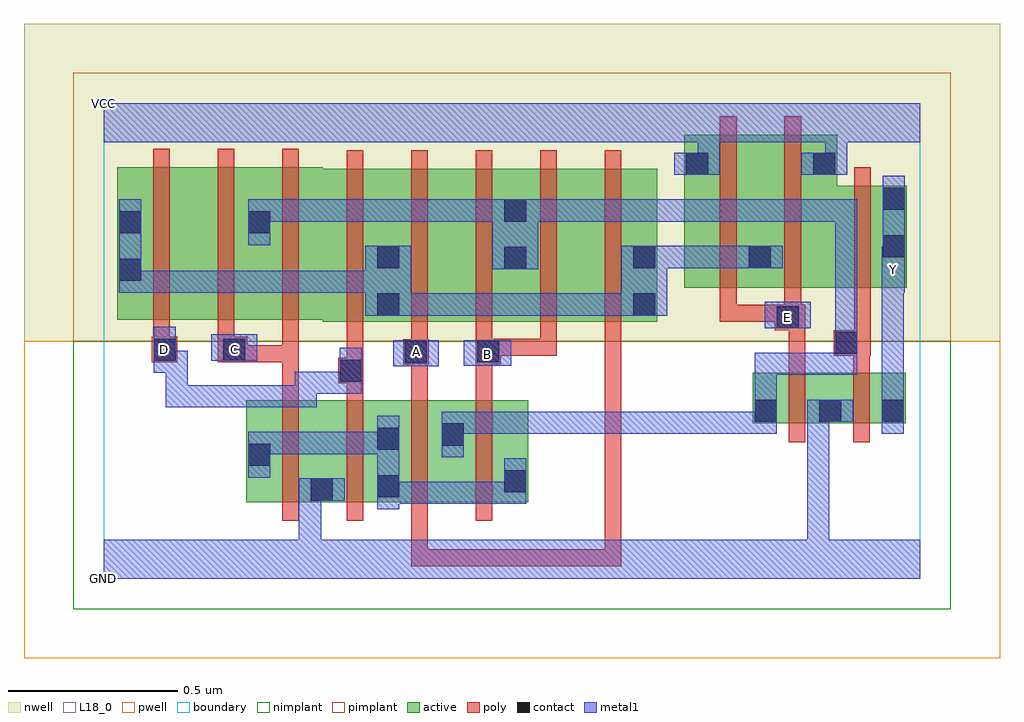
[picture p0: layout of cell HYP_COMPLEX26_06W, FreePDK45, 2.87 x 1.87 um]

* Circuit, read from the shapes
.subckt HYP_COMPLEX26_06W A B C D E GND VCC Y
M1 GND C n1 VSUBS nfet w=0.3u l=0.05u
M2 n1 D GND VSUBS nfet w=0.3u l=0.05u
M3 n2 A n1 VSUBS nfet w=0.3u l=0.05u
M4 n1 B n2 VSUBS nfet w=0.3u l=0.05u
M5 GND E n2 VSUBS nfet w=0.15u l=0.05u
M6 Y n2 GND VSUBS nfet w=0.15u l=0.05u
M7 n3 D n4 n5 pfet w=0.45u l=0.05u
M8 n2 C n3 n5 pfet w=0.45u l=0.05u
M9 n6 C n2 n5 pfet w=0.45u l=0.05u
M10 n4 D n6 n5 pfet w=0.45u l=0.05u
M11 n7 A n4 n5 pfet w=0.45u l=0.05u
M12 n2 B n7 n5 pfet w=0.45u l=0.05u
M13 n8 B n2 n5 pfet w=0.45u l=0.05u
M14 n4 A n8 n5 pfet w=0.45u l=0.05u
M15 n4 E VCC n5 pfet w=0.45u l=0.05u m=2
M16 Y n2 VCC n5 pfet w=0.3u l=0.05u
.ends

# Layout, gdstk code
import gdstk
lib = gdstk.Library(unit=1e-6, precision=1e-09)
def R(c, l, rs):  # rectangles x0, y0, x1, y1
    for r in rs: c.add(gdstk.rectangle(r[:2], r[2:], *l))
def A(c, l, x, y, w, h, nx, ny, dx, dy):  # array of equal rectangles
    R(c, l, [(x+i*dx, y+j*dy, x+i*dx+w, y+j*dy+h) for i in range(nx) for j in range(ny)])
active = (1, 0)
pwell = (2, 0)
nwell = (3, 0)
nimplant = (4, 0)
pimplant = (5, 0)
poly = (9, 0)
contact = (10, 0)
metal1 = (11, 0)
L18_0 = (18, 0)
boundary = (235, 0)

hyp_complex26_06w = lib.new_cell('HYP_COMPLEX26_06W')
R(hyp_complex26_06w, active, [(0.42,0.225,0.68,0.525), (0.605,0.225,0.875,0.525), (0.605,0.225,0.68,0.392), (0.8,0.225,1.065,0.525), (0.8,0.225,0.875,0.45), (0.99,0.225,1.25,0.525), (1.175,0.225,1.25,0.525), (0.42,0.327,0.495,0.525), (0.99,0.33,1.065,0.462), (1.912,0.457,1.987,0.607), (1.912,0.457,2.177,0.607), (2.102,0.457,2.362,0.607), (2.102,0.457,2.177,0.547), (2.287,0.457,2.362,0.607), (0.645,0.757,0.875,1.207), (0.8,0.757,1.025,1.207), (0.8,0.757,0.875,1.07), (1.025,0.757,1.25,1.207), (1.175,0.757,1.405,1.207), (1.405,0.757,1.63,1.207), (1.555,0.757,1.63,1.047), (0.04,0.762,0.265,1.212), (0.04,0.762,0.145,1.2), (0.265,0.762,0.495,1.212), (0.42,0.762,0.645,1.212), (0.42,0.762,0.495,1.2), (1.175,0.827,1.25,1.2), (1.71,0.857,1.97,1.307), (1.71,0.857,1.785,1.307), (1.895,0.857,2.16,1.307), (1.895,0.857,1.97,1.07), (2.085,0.857,2.365,1.157), (2.29,0.857,2.365,1.157), (2.085,0.952,2.16,1.307)])
R(hyp_complex26_06w, pwell, [(-0.235,-0.235,2.64,0.7)])
R(hyp_complex26_06w, nwell, [(-0.235,0.7,2.64,1.635)])
R(hyp_complex26_06w, nimplant, [(-0.09,-0.09,2.495,0.7)])
R(hyp_complex26_06w, pimplant, [(-0.09,0.7,2.495,1.49)])
A(hyp_complex26_06w, poly, 0.525, 0.17, 0.05, 0.41, 4, 1, 0.19, 0)
A(hyp_complex26_06w, poly, 0.715, 0.702, 0.05, 0.56, 5, 1, 0.19, 0)
A(hyp_complex26_06w, poly, 0.145, 0.707, 0.05, 0.56, 3, 1, 0.19, 0)
R(hyp_complex26_06w, poly, [(0.905,0.037,0.955,0.087), (0.905,0.037,1.17,0.087), (0.905,0.037,0.955,0.22), (1.12,0.037,1.17,0.087), (1.12,0.037,1.17,0.087), (1.12,0.037,1.17,0.087), (1.12,0.037,1.302,0.087), (1.252,0.037,1.302,0.087), (1.252,0.037,1.302,0.087), (1.252,0.037,1.302,0.087), (1.252,0.037,1.525,0.087), (1.475,0.037,1.525,0.087), (1.475,0.037,1.525,0.087), (1.475,0.037,1.525,0.087), (1.475,0.037,1.525,0.087), (1.475,0.037,1.525,0.087), (1.475,0.037,1.525,0.087), (1.475,0.037,1.525,0.087), (1.475,0.037,1.525,0.087), (1.475,0.037,1.525,0.087), (1.475,0.037,1.525,0.087), (1.475,0.037,1.525,0.087), (1.475,0.037,1.525,0.752), (2.017,0.402,2.067,0.662), (2.207,0.402,2.257,0.662), (0.525,0.53,0.575,0.687), (0.715,0.53,0.765,0.625), (0.905,0.53,0.955,0.68), (1.095,0.53,1.145,0.682), (0.69,0.575,0.765,0.65), (0.715,0.6,0.765,0.752), (2.017,0.612,2.067,0.782), (2.207,0.612,2.257,0.707), (0.882,0.63,0.957,0.705), (1.095,0.632,1.17,0.707), (0.142,0.637,0.217,0.712), (0.335,0.637,0.422,0.712), (0.372,0.637,0.422,0.687), (0.372,0.637,0.422,0.687), (0.372,0.637,0.575,0.687), (0.525,0.637,0.575,0.687), (0.525,0.637,0.575,0.757), (0.905,0.655,0.955,0.752), (1.095,0.657,1.145,0.752), (1.12,0.657,1.335,0.707), (1.285,0.657,1.335,0.752), (1.285,0.657,1.335,0.707), (1.285,0.657,1.335,0.707), (1.285,0.657,1.335,0.707), (2.15,0.657,2.26,0.732), (0.145,0.662,0.195,0.757), (0.335,0.662,0.385,0.757), (2.21,0.682,2.26,0.852), (1.977,0.732,2.067,0.807), (1.815,0.757,1.865,0.852), (1.815,0.757,1.865,0.807), (1.815,0.757,2.027,0.807), (1.977,0.757,2.027,0.807), (1.977,0.757,2.027,0.807), (2.005,0.757,2.055,0.852), (1.815,0.802,1.865,1.362), (2.005,0.802,2.055,1.362), (2.21,0.802,2.26,1.212)])
R(hyp_complex26_06w, contact, [(0.61,0.23,0.675,0.295), (0.805,0.24,0.87,0.305), (1.18,0.255,1.245,0.32), (0.425,0.332,0.49,0.397), (0.805,0.38,0.87,0.445), (0.995,0.392,1.06,0.457), (1.917,0.462,1.982,0.527), (2.107,0.462,2.172,0.527), (2.292,0.462,2.357,0.527), (0.695,0.58,0.76,0.645), (0.887,0.635,0.952,0.7), (1.1,0.637,1.165,0.702), (0.147,0.642,0.212,0.707), (0.352,0.642,0.417,0.707), (2.155,0.662,2.22,0.727), (1.982,0.737,2.047,0.802), (0.805,0.775,0.87,0.84), (1.56,0.775,1.625,0.84), (0.045,0.877,0.11,0.942), (1.18,0.912,1.245,0.977), (0.805,0.915,0.87,0.98), (1.56,0.915,1.625,0.98), (1.9,0.915,1.965,0.98), (2.295,0.947,2.36,1.012), (0.045,1.017,0.11,1.082), (0.425,1.017,0.49,1.082), (1.18,1.052,1.245,1.117), (2.295,1.087,2.36,1.152), (1.715,1.19,1.78,1.255), (2.09,1.19,2.155,1.255)])
R(hyp_complex26_06w, metal1, [(0,0,2.405,0.115), (0.575,0.05,0.64,0.295), (2.072,0.05,2.137,0.115), (2.072,0.05,2.137,0.115), (2.072,0.05,2.137,0.115), (2.072,0.05,2.137,0.115), (2.072,0.05,2.137,0.115), (2.072,0.05,2.137,0.115), (2.072,0.05,2.137,0.527), (0.805,0.205,0.87,0.48), (0.805,0.22,0.905,0.285), (0.84,0.22,0.905,0.285), (0.84,0.22,1.042,0.285), (0.977,0.22,1.042,0.285), (0.977,0.22,1.042,0.285), (0.977,0.22,1.042,0.285), (0.977,0.22,1.245,0.285), (1.18,0.22,1.245,0.355), (0.575,0.23,0.64,0.295), (0.575,0.23,0.64,0.295), (0.575,0.23,0.64,0.295), (0.575,0.23,0.64,0.295), (0.575,0.23,0.71,0.295), (0.425,0.297,0.49,0.432), (0.995,0.357,1.06,0.492), (0.425,0.367,0.49,0.432), (0.425,0.367,0.49,0.432), (0.425,0.367,0.627,0.432), (0.562,0.367,0.627,0.432), (0.562,0.367,0.627,0.432), (0.562,0.367,0.627,0.432), (0.562,0.367,0.87,0.432), (0.995,0.427,1.06,0.492), (0.995,0.427,1.06,0.492), (0.995,0.427,1.315,0.492), (1.25,0.427,1.315,0.492), (1.25,0.427,1.315,0.492), (1.25,0.427,1.315,0.492), (1.25,0.427,1.452,0.492), (1.387,0.427,1.452,0.492), (1.387,0.427,1.452,0.492), (1.387,0.427,1.452,0.492), (1.387,0.427,1.707,0.492), (1.642,0.427,1.707,0.492), (1.642,0.427,1.707,0.492), (1.642,0.427,1.707,0.492), (1.642,0.427,1.845,0.492), (1.78,0.427,1.845,0.492), (1.78,0.427,1.982,0.492), (1.917,0.427,1.982,0.562), (2.292,0.427,2.357,0.562), (2.072,0.462,2.207,0.527), (1.917,0.497,1.982,0.562), (1.917,0.497,1.982,0.665), (2.292,0.497,2.357,0.907), (0.182,0.505,0.247,0.57), (0.182,0.505,0.352,0.57), (0.182,0.505,0.247,0.672), (0.287,0.505,0.352,0.57), (0.287,0.505,0.49,0.57), (0.425,0.505,0.49,0.57), (0.425,0.505,0.49,0.57), (0.425,0.505,0.49,0.57), (0.425,0.505,0.627,0.57), (0.562,0.505,0.627,0.57), (0.562,0.505,0.627,0.61), (0.562,0.545,0.627,0.61), (0.562,0.545,0.76,0.61), (0.695,0.545,0.76,0.68), (1.917,0.6,2.22,0.665), (2.155,0.6,2.22,0.665), (2.155,0.6,2.22,0.692), (0.147,0.607,0.212,0.742), (0.147,0.607,0.247,0.672), (0.182,0.607,0.247,0.672), (0.852,0.625,0.987,0.702), (1.06,0.627,1.2,0.702), (2.155,0.627,2.22,0.692), (2.155,0.627,2.22,0.692), (2.155,0.627,2.22,0.692), (2.155,0.627,2.22,0.692), (2.155,0.627,2.22,0.762), (2.155,0.627,2.22,1.117), (0.317,0.642,0.452,0.72), (1.947,0.737,2.082,0.815), (0.77,0.775,0.905,0.98), (0.84,0.775,0.905,0.84), (0.84,0.775,0.905,0.84), (0.84,0.775,1.072,0.84), (1.007,0.775,1.072,0.84), (1.007,0.775,1.142,0.84), (1.077,0.775,1.142,0.84), (1.077,0.775,1.315,0.84), (1.25,0.775,1.315,0.84), (1.25,0.775,1.315,0.84), (1.25,0.775,1.315,0.84), (1.25,0.775,1.452,0.84), (1.387,0.775,1.452,0.84), (1.387,0.775,1.452,0.84), (1.387,0.775,1.452,0.84), (1.387,0.775,1.59,0.84), (1.525,0.775,1.66,0.98), (0.045,0.842,0.11,0.907), (0.045,0.842,0.11,0.907), (0.045,0.842,0.11,1.117), (0.045,0.842,0.352,0.907), (0.287,0.842,0.352,0.907), (0.287,0.842,0.352,0.907), (0.287,0.842,0.352,0.907), (0.287,0.842,0.49,0.907), (0.425,0.842,0.49,0.907), (0.425,0.842,0.49,0.907), (0.425,0.842,0.49,0.907), (0.425,0.842,0.627,0.907), (0.562,0.842,0.627,0.907), (0.562,0.842,0.627,0.907), (0.562,0.842,0.627,0.907), (0.562,0.842,0.835,0.907), (2.292,0.842,2.36,0.977), (1.145,0.912,1.28,1.117), (2.295,0.912,2.36,0.977), (2.295,0.912,2.36,1.187), (1.595,0.915,1.66,0.98), (1.595,0.915,1.66,0.98), (1.595,0.915,1.845,0.98), (1.78,0.915,1.845,0.98), (1.78,0.915,1.93,0.98), (1.865,0.915,2,0.98), (0.425,0.982,0.49,1.117), (0.425,1.052,0.49,1.117), (0.425,1.052,0.49,1.117), (0.425,1.052,0.627,1.117), (0.562,1.052,0.627,1.117), (0.562,1.052,0.765,1.117), (0.7,1.052,0.765,1.117), (0.7,1.052,0.765,1.117), (0.7,1.052,0.765,1.117), (0.7,1.052,0.902,1.117), (0.837,1.052,0.902,1.117), (0.837,1.052,1.072,1.117), (1.007,1.052,1.072,1.117), (1.007,1.052,1.072,1.117), (1.007,1.052,1.072,1.117), (1.007,1.052,1.21,1.117), (1.215,1.052,1.28,1.117), (1.215,1.052,1.28,1.117), (1.215,1.052,1.452,1.117), (1.387,1.052,1.452,1.117), (1.387,1.052,1.452,1.117), (1.387,1.052,1.452,1.117), (1.387,1.052,1.66,1.117), (1.595,1.052,1.66,1.117), (1.595,1.052,1.66,1.117), (1.595,1.052,1.66,1.117), (1.595,1.052,1.845,1.117), (1.78,1.052,1.845,1.117), (1.78,1.052,1.845,1.117), (1.78,1.052,1.845,1.117), (1.78,1.052,2.082,1.117), (2.017,1.052,2.082,1.117), (2.017,1.052,2.22,1.117), (2.155,1.052,2.22,1.117), (1.68,1.19,1.815,1.255), (1.75,1.19,1.815,1.35), (2.055,1.19,2.19,1.255), (2.125,1.19,2.19,1.35), (0,1.285,2.405,1.4)])
R(hyp_complex26_06w, L18_0, [(0,0,2.405,0.115), (0.575,0.05,0.64,0.295), (2.072,0.05,2.137,0.115), (2.072,0.05,2.137,0.115), (2.072,0.05,2.137,0.115), (2.072,0.05,2.137,0.115), (2.072,0.05,2.137,0.115), (2.072,0.05,2.137,0.115), (2.072,0.05,2.137,0.527), (0.575,0.23,0.64,0.295), (0.575,0.23,0.64,0.295), (0.575,0.23,0.64,0.295), (0.575,0.23,0.64,0.295), (0.575,0.23,0.71,0.295), (2.292,0.427,2.357,0.562), (2.072,0.462,2.207,0.527), (2.292,0.497,2.357,0.907), (0.182,0.505,0.247,0.57), (0.182,0.505,0.247,0.672), (0.182,0.505,0.352,0.57), (0.287,0.505,0.352,0.57), (0.287,0.505,0.49,0.57), (0.425,0.505,0.49,0.57), (0.425,0.505,0.49,0.57), (0.425,0.505,0.49,0.57), (0.425,0.505,0.627,0.57), (0.562,0.505,0.627,0.57), (0.562,0.505,0.627,0.61), (0.562,0.545,0.627,0.61), (0.562,0.545,0.76,0.61), (0.695,0.545,0.76,0.68), (0.147,0.607,0.212,0.742), (0.147,0.607,0.247,0.672), (0.182,0.607,0.247,0.672), (0.852,0.625,0.987,0.702), (1.06,0.627,1.2,0.702), (1.097,0.627,1.162,0.692), (0.887,0.637,0.952,0.702), (0.147,0.642,0.212,0.707), (0.317,0.642,0.452,0.72), (0.352,0.642,0.417,0.707), (1.947,0.737,2.082,0.815), (1.982,0.737,2.047,0.802), (2.292,0.842,2.36,0.977), (2.292,0.877,2.357,0.942), (2.295,0.912,2.36,0.977), (2.295,0.912,2.36,1.187), (1.68,1.19,1.815,1.255), (1.75,1.19,1.815,1.35), (2.055,1.19,2.19,1.255), (2.125,1.19,2.19,1.35), (0,1.285,2.405,1.4)])
R(hyp_complex26_06w, boundary, [(0,0,2.405,1.4)])
hyp_complex26_06w.add(gdstk.Label('A', (0.92,0.67), layer=11, texttype=0))
hyp_complex26_06w.add(gdstk.Label('B', (1.13,0.66), layer=11, texttype=0))
hyp_complex26_06w.add(gdstk.Label('C', (0.385,0.675), layer=11, texttype=0))
hyp_complex26_06w.add(gdstk.Label('D', (0.18,0.675), layer=11, texttype=0))
hyp_complex26_06w.add(gdstk.Label('E', (2.015,0.77), layer=11, texttype=0))
hyp_complex26_06w.add(gdstk.Label('Y', (2.325,0.91), layer=11, texttype=0))
hyp_complex26_06w.add(gdstk.Label('VCC', (0,1.4), layer=11, texttype=0))
hyp_complex26_06w.add(gdstk.Label('GND', (0,0), layer=11, texttype=0))

lib.write_gds('HYP_COMPLEX26_06W.gds')
